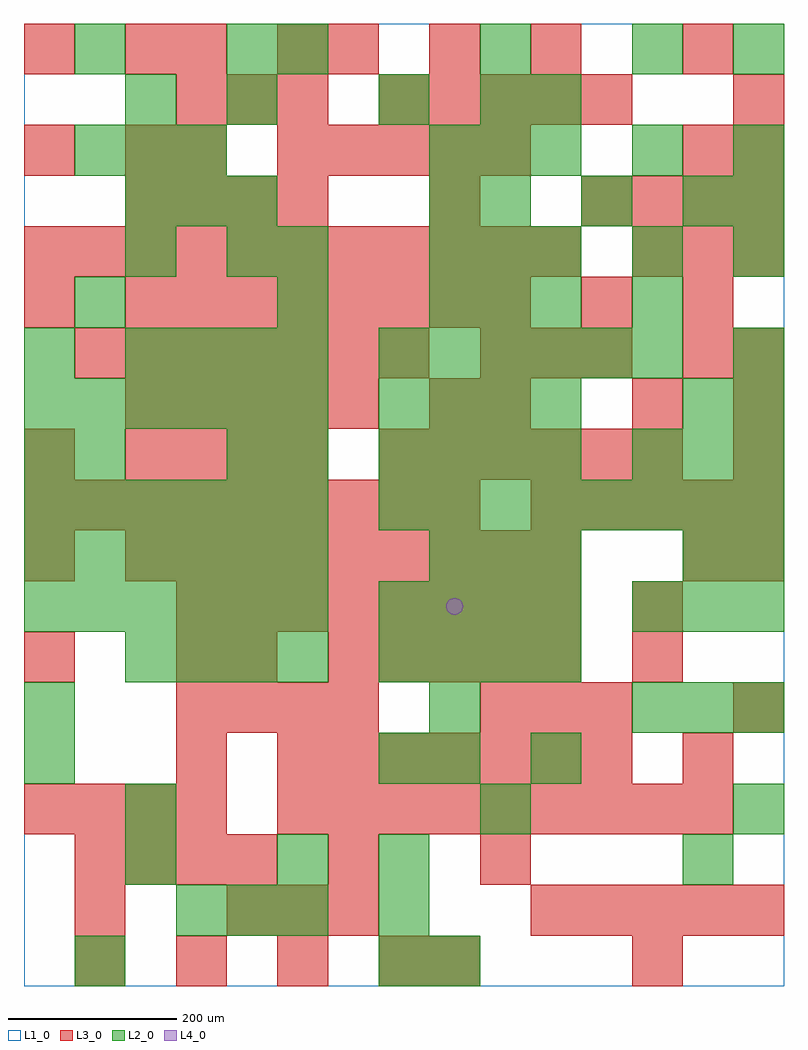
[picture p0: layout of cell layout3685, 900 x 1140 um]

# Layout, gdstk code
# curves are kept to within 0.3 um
import gdstk
lib = gdstk.Library(unit=1e-6, precision=1e-09)
def R(c, l, rs):  # rectangles x0, y0, x1, y1
    for r in rs: c.add(gdstk.rectangle(r[:2], r[2:], *l))
def A(c, l, x, y, w, h, nx, ny, dx, dy):  # array of equal rectangles
    R(c, l, [(x+i*dx, y+j*dy, x+i*dx+w, y+j*dy+h) for i in range(nx) for j in range(ny)])
def P(c, l, *ps):  # polygons
    for p in ps: c.add(gdstk.Polygon(p, *l))
L1_0 = (1, 0)
L2_0 = (2, 0)
L3_0 = (3, 0)
L4_0 = (4, 0)

layout3685 = lib.new_cell('layout3685')
R(layout3685, L1_0, [(0,0,900,1140)])
A(layout3685, L2_0, 420, 0, 60, 60, 1, 3, 0, 60)
A(layout3685, L2_0, 180, 60, 60, 60, 3, 1, 60, 0)
A(layout3685, L2_0, 720, 300, 60, 60, 3, 2, 60, 120)
A(layout3685, L2_0, 120, 360, 60, 60, 4, 2, 60, 360)
A(layout3685, L2_0, 420, 360, 60, 60, 4, 2, 60, 60)
A(layout3685, L2_0, 0, 420, 60, 60, 6, 3, 60, 60)
A(layout3685, L2_0, 480, 480, 60, 60, 3, 2, 60, 300)
A(layout3685, L2_0, 420, 540, 60, 60, 8, 1, 60, 0)
A(layout3685, L2_0, 420, 600, 60, 60, 4, 2, 60, 60)
A(layout3685, L2_0, 720, 600, 60, 60, 3, 1, 60, 0)
A(layout3685, L2_0, 0, 660, 60, 60, 6, 1, 60, 0)
A(layout3685, L2_0, 420, 720, 60, 60, 6, 1, 60, 0)
A(layout3685, L2_0, 480, 840, 60, 60, 3, 2, 60, 120)
A(layout3685, L2_0, 720, 840, 60, 60, 1, 3, 0, 120)
A(layout3685, L2_0, 840, 840, 60, 60, 1, 3, 0, 60)
A(layout3685, L2_0, 120, 900, 60, 60, 3, 1, 60, 0)
A(layout3685, L2_0, 540, 900, 60, 60, 3, 1, 120, 0)
A(layout3685, L2_0, 60, 960, 60, 60, 3, 1, 60, 0)
R(layout3685, L2_0, [(60,0,120,60), (480,0,540,60), (120,120,180,180), (300,120,360,180), (780,120,840,180), (120,180,180,240), (540,180,600,240), (840,180,900,240), (0,240,60,300), (420,240,480,300), (480,240,540,300), (600,240,660,300), (0,300,60,360), (480,300,540,360), (780,480,840,540), (840,480,900,540), (0,600,60,660), (60,600,120,660), (240,600,300,660), (300,600,360,660), (780,660,840,720), (840,660,900,720), (0,720,60,780), (840,720,900,780), (60,780,120,840), (300,780,360,840), (720,780,780,840), (120,840,180,900), (240,840,300,900), (300,840,360,900), (480,900,540,960), (120,1020,180,1080), (240,1020,300,1080), (420,1020,480,1080), (540,1020,600,1080), (600,1020,660,1080), (60,1080,120,1140), (240,1080,300,1140), (300,1080,360,1140), (540,1080,600,1140), (840,1080,900,1140)])
A(layout3685, L3_0, 60, 0, 60, 60, 4, 1, 120, 0)
A(layout3685, L3_0, 240, 60, 60, 60, 3, 1, 60, 0)
A(layout3685, L3_0, 600, 60, 60, 60, 5, 2, 60, 480)
A(layout3685, L3_0, 60, 120, 60, 60, 4, 1, 60, 0)
A(layout3685, L3_0, 0, 180, 60, 60, 4, 1, 60, 0)
A(layout3685, L3_0, 300, 180, 60, 60, 9, 1, 60, 0)
A(layout3685, L3_0, 300, 240, 60, 60, 7, 1, 60, 0)
A(layout3685, L3_0, 780, 240, 60, 60, 1, 3, 0, 240)
A(layout3685, L3_0, 180, 300, 60, 60, 4, 1, 60, 0)
A(layout3685, L3_0, 540, 300, 60, 60, 3, 2, 60, 420)
A(layout3685, L3_0, 0, 360, 60, 60, 1, 3, 0, 120)
A(layout3685, L3_0, 360, 360, 60, 60, 5, 1, 60, 0)
A(layout3685, L3_0, 180, 420, 60, 60, 8, 1, 60, 0)
A(layout3685, L3_0, 120, 480, 60, 60, 9, 1, 60, 0)
A(layout3685, L3_0, 0, 540, 60, 60, 9, 1, 60, 0)
A(layout3685, L3_0, 120, 600, 60, 60, 4, 2, 60, 300)
A(layout3685, L3_0, 420, 600, 60, 60, 6, 1, 60, 0)
A(layout3685, L3_0, 840, 600, 60, 60, 1, 3, 0, 60)
A(layout3685, L3_0, 120, 660, 60, 60, 5, 1, 60, 0)
A(layout3685, L3_0, 60, 720, 60, 60, 7, 1, 60, 0)
A(layout3685, L3_0, 120, 780, 60, 60, 8, 1, 60, 0)
A(layout3685, L3_0, 0, 840, 60, 60, 11, 1, 60, 0)
A(layout3685, L3_0, 720, 840, 60, 60, 3, 1, 60, 0)
A(layout3685, L3_0, 660, 900, 60, 60, 4, 1, 60, 0)
A(layout3685, L3_0, 300, 960, 60, 60, 5, 1, 60, 0)
A(layout3685, L3_0, 180, 1020, 60, 60, 3, 1, 60, 0)
A(layout3685, L3_0, 420, 1020, 60, 60, 5, 1, 60, 0)
A(layout3685, L3_0, 360, 1080, 60, 60, 3, 1, 120, 0)
R(layout3685, L3_0, [(480,0,540,60), (720,0,780,60), (60,60,120,120), (360,120,420,180), (540,120,600,180), (180,240,240,300), (840,300,900,360), (180,360,240,420), (240,360,300,420), (720,360,780,420), (720,420,780,480), (840,480,900,540), (480,660,540,720), (540,660,600,720), (720,660,780,720), (0,780,60,840), (660,780,720,840), (780,780,840,840), (480,900,540,960), (0,960,60,1020), (120,960,180,1020), (180,960,240,1020), (780,960,840,1020), (840,960,900,1020), (840,1020,900,1080), (0,1080,60,1140), (120,1080,180,1140), (180,1080,240,1140), (300,1080,360,1140), (780,1080,840,1140)])
P(layout3685, L4_0, [(520,450),(519.239,453.827),(517.071,457.071),(513.827,459.239),(510,460),(506.173,459.239),(502.929,457.071),(500.761,453.827),(500,450),(500.761,446.173),(502.929,442.929),(506.173,440.761),(510,440),(513.827,440.761),(517.071,442.929),(519.239,446.173)])

lib.write_gds('layout3685.gds')
